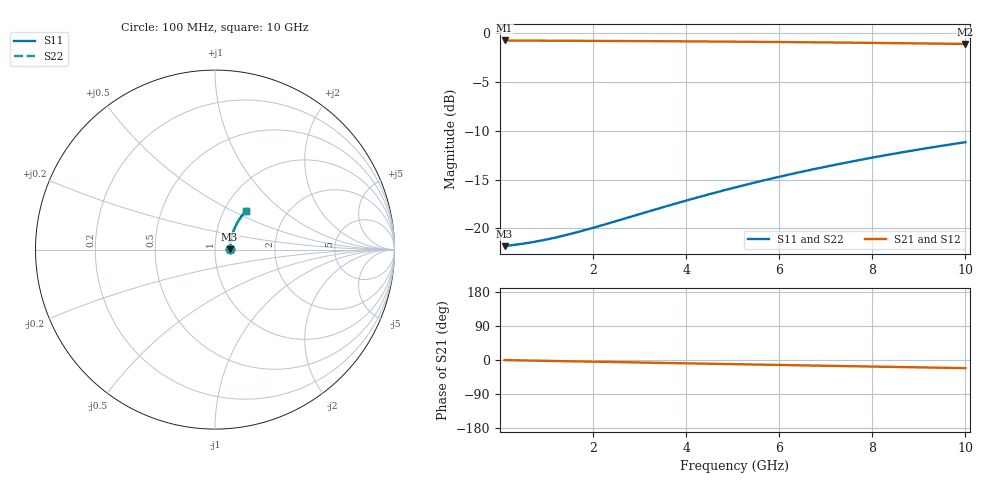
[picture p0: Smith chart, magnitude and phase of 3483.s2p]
# Hz S RI R 50.00
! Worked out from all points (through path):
!   100 points, 100 MHz to 10 GHz, reference 50 ohm
!   highest |S21| = -0.73 dB at 100 MHz (marker M1); lowest = -1.1 dB at 10 GHz (marker M2)
!   group delay of S21, straight-line fit = 5.97 ps
!   lowest |S11| = -21.8 dB at 100 MHz (marker M3), VSWR 1.18, Z = 58.8 + j0.292 ohm
!   |S11| at or under -10 dB: start of sweep to end of sweep
!   |S22| runs from -21.8 to -11.2 dB; largest |S21 - S12| = 0
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1e8  0.0809 0.00247  0.9191 -0.00354  0.9191 -0.00354  0.0809 0.00247
6e8  0.0828 0.0148  0.9172 -0.0212  0.9172 -0.0212  0.0828 0.0148
9e8  0.0837 0.0221  0.9162 -0.0317  0.9162 -0.0317  0.0837 0.0221
1.1e9  0.0844 0.027  0.9155 -0.0387  0.9155 -0.0387  0.0844 0.027
1.3e9  0.0851 0.0318  0.9148 -0.0457  0.9148 -0.0457  0.0851 0.0318
1.5e9  0.0858 0.0367  0.914 -0.0527  0.914 -0.0527  0.0858 0.0367
1.8e9  0.087 0.0439  0.9127 -0.0632  0.9127 -0.0632  0.087 0.0439
2.3e9  0.0894 0.0559  0.9103 -0.0805  0.9103 -0.0805  0.0894 0.0559
3.4e9  0.0959 0.0819  0.9034 -0.1183  0.9034 -0.1183  0.0959 0.0819
3.9e9  0.0995 0.0935  0.8996 -0.1352  0.8996 -0.1352  0.0995 0.0935
4.3e9  0.1026 0.1026  0.8962 -0.1486  0.8962 -0.1486  0.1026 0.1026
4.7e9  0.1061 0.1116  0.8926 -0.1619  0.8926 -0.1619  0.1061 0.1116
5.1e9  0.1097 0.1205  0.8887 -0.1751  0.8887 -0.1751  0.1097 0.1205
5.5e9  0.1137 0.1292  0.8845 -0.1881  0.8845 -0.1881  0.1137 0.1292
5.9e9  0.1179 0.1378  0.88 -0.201  0.88 -0.201  0.1179 0.1378
6.3e9  0.1223 0.1462  0.8753 -0.2137  0.8753 -0.2137  0.1223 0.1462
6.7e9  0.1269 0.1545  0.8704 -0.2263  0.8704 -0.2263  0.1269 0.1545
7.5e9  0.1369 0.1705  0.8597 -0.2509  0.8597 -0.2509  0.1369 0.1705
7.9e9  0.1422 0.1782  0.8541 -0.2629  0.8541 -0.2629  0.1422 0.1782
8.4e9  0.1491 0.1876  0.8467 -0.2777  0.8467 -0.2777  0.1491 0.1876
9.2e9  0.1607 0.2019  0.8342 -0.3007  0.8342 -0.3007  0.1607 0.2019
1e10  0.1731 0.2155  0.8209 -0.3229  0.8209 -0.3229  0.1731 0.2155
